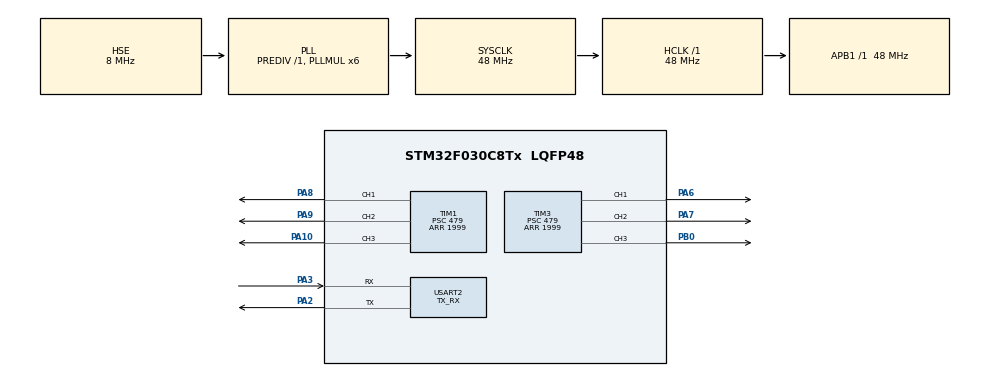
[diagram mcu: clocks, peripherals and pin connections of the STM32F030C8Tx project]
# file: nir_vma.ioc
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Mcu.Family=STM32F0
Mcu.Name=STM32F030C8Tx
Mcu.Package=LQFP48
NVIC.USART2_IRQn=true\:0\:0\:false\:false\:true\:true\:true\:true
PA10.Signal=S_TIM1_CH3
PA2.Mode=Asynchronous
PA2.Signal=USART2_TX
PA3.Mode=Asynchronous
PA3.Signal=USART2_RX
PA6.Signal=S_TIM3_CH1
PA7.Signal=S_TIM3_CH2
PA8.Signal=S_TIM1_CH1
PA9.Signal=S_TIM1_CH2
PB0.Signal=S_TIM3_CH3
PF0-OSC_IN.Mode=HSE-External-Oscillator
PF0-OSC_IN.Signal=RCC_OSC_IN
PF1-OSC_OUT.Mode=HSE-External-Oscillator
PF1-OSC_OUT.Signal=RCC_OSC_OUT
ProjectManager.HeapSize=0x200
ProjectManager.StackSize=0x400
ProjectManager.TargetToolchain=STM32CubeIDE
RCC.AHBFreq_Value=48000000
RCC.APB1Freq_Value=48000000
RCC.APB1TimFreq_Value=48000000
RCC.HCLKFreq_Value=48000000
RCC.PLLMUL=RCC_PLL_MUL6
RCC.PLLSourceVirtual=RCC_PLLSOURCE_HSE
RCC.SYSCLKFreq_VALUE=48000000
RCC.SYSCLKSource=RCC_SYSCLKSOURCE_PLLCLK
SH.S_TIM1_CH1.0=TIM1_CH1,PWM Generation1 CH1
SH.S_TIM1_CH2.0=TIM1_CH2,PWM Generation2 CH2
SH.S_TIM1_CH3.0=TIM1_CH3,PWM Generation3 CH3
SH.S_TIM3_CH1.0=TIM3_CH1,PWM Generation1 CH1
SH.S_TIM3_CH2.0=TIM3_CH2,PWM Generation2 CH2
SH.S_TIM3_CH3.0=TIM3_CH3,PWM Generation3 CH3
TIM1.Channel-PWM\ Generation1\ CH1=TIM_CHANNEL_1
TIM1.Channel-PWM\ Generation2\ CH2=TIM_CHANNEL_2
TIM1.Channel-PWM\ Generation3\ CH3=TIM_CHANNEL_3
TIM1.Period=1999
TIM1.Prescaler=479
TIM1.Pulse-PWM\ Generation1\ CH1=150
TIM1.Pulse-PWM\ Generation2\ CH2=150
TIM3.Channel-PWM\ Generation1\ CH1=TIM_CHANNEL_1
TIM3.Channel-PWM\ Generation2\ CH2=TIM_CHANNEL_2
TIM3.Channel-PWM\ Generation3\ CH3=TIM_CHANNEL_3
TIM3.Period=1999
TIM3.Prescaler=479
TIM3.Pulse-PWM\ Generation2\ CH2=150
TIM3.Pulse-PWM\ Generation3\ CH3=150
USART2.Mode=MODE_TX_RX
USART2.Parity=PARITY_NONE
USART2.VirtualMode-Asynchronous=VM_ASYNC
board=custom

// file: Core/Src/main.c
/* USER CODE BEGIN Header */
/**
  ******************************************************************************
  * @file           : main.c
  * @brief          : Main program body
  ******************************************************************************
  * @attention
  *
  * Copyright (c) 2023 STMicroelectronics.
  * All rights reserved.
  *
  * This software is licensed under terms that can be found in the LICENSE file
  * in the root directory of this software component.
  * If no LICENSE file comes with this software, it is provided AS-IS.
  *
  ******************************************************************************
  */
/* USER CODE END Header */
#include "main.h"

TIM_HandleTypeDef htim1;
TIM_HandleTypeDef htim3;

UART_HandleTypeDef huart2;

/* USER CODE BEGIN PV */
uint8_t bufferRx[18];
uint8_t rxFlag=0;  //флаг о приеме данных
uint16_t data[6] = {0,0,0,0,0,0}; //ВМА
uint16_t flags;
uint8_t MAX_SIZE = 18;

/* USER CODE END PV */

void SystemClock_Config(void);
static void MX_GPIO_Init(void);
static void MX_TIM1_Init(void);
static void MX_TIM3_Init(void);
static void MX_USART2_UART_Init(void);

/* USER CODE BEGIN 0 */
/* UART2 Interrupt Service Routine */

/* USER CODE END 0 */

int main(void)
{

  /* MCU Configuration--------------------------------------------------------*/

  /* Reset of all peripherals, Initializes the Flash interface and the Systick. */
  HAL_Init();

  /* Configure the system clock */
  SystemClock_Config();

  /* Initialize all configured peripherals */
  MX_GPIO_Init();
  MX_TIM1_Init();
  MX_TIM3_Init();
  MX_USART2_UART_Init();
  /* USER CODE BEGIN 2 */
  Thruster_Init();
//  HAL_UART_Receive_IT(&huart2, &bufferRx,18);
//  HAL_UART_Receive_IT (&huart2, bufferRx, 18);

  /* USER CODE END 2 */

  /* Infinite loop */
  while (1)
  {

    /* USER CODE BEGIN 3 */
	  HAL_UART_Receive(&huart2, (uint8_t*)bufferRx, 18, 10); //принимаем сообщение
      if((bufferRx[0] == 0xff) && (bufferRx[1] == 0xfD))
     	  rxFlag = 1;
      while(bufferRx[0]!= 0xff || bufferRx[1]!= 0xfD){ //проверяем соответсвует ли посылка
      			HAL_UART_Receive(&huart2, (uint8_t*)bufferRx, 18, 10);//принимаем сообщение еще раз
      		}

	//  if (huart2.RxXferCount == 0){
	  if(rxFlag){

		  rxFlag = 0;
		  if(check_crc(bufferRx, MAX_SIZE)){ //если crc совпало

			  data[0] =  (bufferRx[3] << 8) | (bufferRx[2] & 0xff);
			  data[1] =  (bufferRx[5] << 8) | (bufferRx[4] & 0xff);
			  data[2] =  (bufferRx[7] << 8) | (bufferRx[6] & 0xff);
			  data[3] =  (bufferRx[9] << 8) | (bufferRx[8] & 0xff);
			  data[4] =  (bufferRx[11] << 8) | (bufferRx[10] & 0xff);
			  data[5] =  (bufferRx[13] << 8) | (bufferRx[12] & 0xff);
			  flags = (bufferRx[15] << 8) | (bufferRx[14] & 0xff);

			  Thruster_Set_Speed(data); //записываем ширину импульса Ш�?Ма

			  if(flags & (1 << 7)){  //если 7 бит выставлен
				HAL_Delay(500);
				//	HAL_GPIO_WritePin(POWER_ON_GPIO_Port, POWER_ON_Pin, GPIO_PIN_RESET);//выключаем силовое питание
				}
			  else{
				//  HAL_GPIO_WritePin(POWER_ON_GPIO_Port, POWER_ON_Pin, GPIO_PIN_SET);//включаем силовое питание
			  }
		  }
		  else{
			//  HAL_GPIO_WritePin(LD8_GPIO_Port, LD8_Pin, GPIO_PIN_RESET); //индикация о ошибке приема
		  }

	  }

  }
  /* USER CODE END 3 */
}

void SystemClock_Config(void)
{
  RCC_OscInitTypeDef RCC_OscInitStruct = {0};
  RCC_ClkInitTypeDef RCC_ClkInitStruct = {0};

  /** Initializes the RCC Oscillators according to the specified parameters
  * in the RCC_OscInitTypeDef structure.
  */
  RCC_OscInitStruct.OscillatorType = RCC_OSCILLATORTYPE_HSE;
  RCC_OscInitStruct.HSEState = RCC_HSE_ON;
  RCC_OscInitStruct.PLL.PLLState = RCC_PLL_ON;
  RCC_OscInitStruct.PLL.PLLSource = RCC_PLLSOURCE_HSE;
  RCC_OscInitStruct.PLL.PLLMUL = RCC_PLL_MUL6;
  RCC_OscInitStruct.PLL.PREDIV = RCC_PREDIV_DIV1;
  if (HAL_RCC_OscConfig(&RCC_OscInitStruct) != HAL_OK)
  {
    Error_Handler();
  }

  /** Initializes the CPU, AHB and APB buses clocks
  */
  RCC_ClkInitStruct.ClockType = RCC_CLOCKTYPE_HCLK|RCC_CLOCKTYPE_SYSCLK
                              |RCC_CLOCKTYPE_PCLK1;
  RCC_ClkInitStruct.SYSCLKSource = RCC_SYSCLKSOURCE_PLLCLK;
  RCC_ClkInitStruct.AHBCLKDivider = RCC_SYSCLK_DIV1;
  RCC_ClkInitStruct.APB1CLKDivider = RCC_HCLK_DIV1;

  if (HAL_RCC_ClockConfig(&RCC_ClkInitStruct, FLASH_LATENCY_1) != HAL_OK)
  {
    Error_Handler();
  }
}

static void MX_TIM1_Init(void)
{

  TIM_MasterConfigTypeDef sMasterConfig = {0};
  TIM_OC_InitTypeDef sConfigOC = {0};
  TIM_BreakDeadTimeConfigTypeDef sBreakDeadTimeConfig = {0};

  htim1.Instance = TIM1;
  htim1.Init.Prescaler = 479;
  htim1.Init.CounterMode = TIM_COUNTERMODE_UP;
  htim1.Init.Period = 1999;
  htim1.Init.ClockDivision = TIM_CLOCKDIVISION_DIV1;
  htim1.Init.RepetitionCounter = 0;
  htim1.Init.AutoReloadPreload = TIM_AUTORELOAD_PRELOAD_DISABLE;
  if (HAL_TIM_PWM_Init(&htim1) != HAL_OK)
  {
    Error_Handler();
  }
  sMasterConfig.MasterOutputTrigger = TIM_TRGO_RESET;
  sMasterConfig.MasterSlaveMode = TIM_MASTERSLAVEMODE_DISABLE;
  if (HAL_TIMEx_MasterConfigSynchronization(&htim1, &sMasterConfig) != HAL_OK)
  {
    Error_Handler();
  }
  sConfigOC.OCMode = TIM_OCMODE_PWM1;
  sConfigOC.Pulse = 150;
  sConfigOC.OCPolarity = TIM_OCPOLARITY_HIGH;
  sConfigOC.OCNPolarity = TIM_OCNPOLARITY_HIGH;
  sConfigOC.OCFastMode = TIM_OCFAST_DISABLE;
  sConfigOC.OCIdleState = TIM_OCIDLESTATE_RESET;
  sConfigOC.OCNIdleState = TIM_OCNIDLESTATE_RESET;
  if (HAL_TIM_PWM_ConfigChannel(&htim1, &sConfigOC, TIM_CHANNEL_1) != HAL_OK)
  {
    Error_Handler();
  }
  if (HAL_TIM_PWM_ConfigChannel(&htim1, &sConfigOC, TIM_CHANNEL_2) != HAL_OK)
  {
    Error_Handler();
  }
  sConfigOC.Pulse = 0;
  if (HAL_TIM_PWM_ConfigChannel(&htim1, &sConfigOC, TIM_CHANNEL_3) != HAL_OK)
  {
    Error_Handler();
  }
  sBreakDeadTimeConfig.OffStateRunMode = TIM_OSSR_DISABLE;
  sBreakDeadTimeConfig.OffStateIDLEMode = TIM_OSSI_DISABLE;
  sBreakDeadTimeConfig.LockLevel = TIM_LOCKLEVEL_OFF;
  sBreakDeadTimeConfig.DeadTime = 0;
  sBreakDeadTimeConfig.BreakState = TIM_BREAK_DISABLE;
  sBreakDeadTimeConfig.BreakPolarity = TIM_BREAKPOLARITY_HIGH;
  sBreakDeadTimeConfig.AutomaticOutput = TIM_AUTOMATICOUTPUT_DISABLE;
  if (HAL_TIMEx_ConfigBreakDeadTime(&htim1, &sBreakDeadTimeConfig) != HAL_OK)
  {
    Error_Handler();
  }
  HAL_TIM_MspPostInit(&htim1);

}

static void MX_TIM3_Init(void)
{

  TIM_MasterConfigTypeDef sMasterConfig = {0};
  TIM_OC_InitTypeDef sConfigOC = {0};

  htim3.Instance = TIM3;
  htim3.Init.Prescaler = 479;
  htim3.Init.CounterMode = TIM_COUNTERMODE_UP;
  htim3.Init.Period = 1999;
  htim3.Init.ClockDivision = TIM_CLOCKDIVISION_DIV1;
  htim3.Init.AutoReloadPreload = TIM_AUTORELOAD_PRELOAD_DISABLE;
  if (HAL_TIM_PWM_Init(&htim3) != HAL_OK)
  {
    Error_Handler();
  }
  sMasterConfig.MasterOutputTrigger = TIM_TRGO_RESET;
  sMasterConfig.MasterSlaveMode = TIM_MASTERSLAVEMODE_DISABLE;
  if (HAL_TIMEx_MasterConfigSynchronization(&htim3, &sMasterConfig) != HAL_OK)
  {
    Error_Handler();
  }
  sConfigOC.OCMode = TIM_OCMODE_PWM1;
  sConfigOC.Pulse = 0;
  sConfigOC.OCPolarity = TIM_OCPOLARITY_HIGH;
  sConfigOC.OCFastMode = TIM_OCFAST_DISABLE;
  if (HAL_TIM_PWM_ConfigChannel(&htim3, &sConfigOC, TIM_CHANNEL_1) != HAL_OK)
  {
    Error_Handler();
  }
  sConfigOC.Pulse = 150;
  if (HAL_TIM_PWM_ConfigChannel(&htim3, &sConfigOC, TIM_CHANNEL_2) != HAL_OK)
  {
    Error_Handler();
  }
  if (HAL_TIM_PWM_ConfigChannel(&htim3, &sConfigOC, TIM_CHANNEL_3) != HAL_OK)
  {
    Error_Handler();
  }
  HAL_TIM_MspPostInit(&htim3);

}

static void MX_USART2_UART_Init(void)
{

  huart2.Instance = USART2;
  huart2.Init.BaudRate = 38400;
  huart2.Init.WordLength = UART_WORDLENGTH_8B;
  huart2.Init.StopBits = UART_STOPBITS_1;
  huart2.Init.Parity = UART_PARITY_NONE;
  huart2.Init.Mode = UART_MODE_TX_RX;
  huart2.Init.HwFlowCtl = UART_HWCONTROL_NONE;
  huart2.Init.OverSampling = UART_OVERSAMPLING_16;
  huart2.Init.OneBitSampling = UART_ONE_BIT_SAMPLE_DISABLE;
  huart2.AdvancedInit.AdvFeatureInit = UART_ADVFEATURE_NO_INIT;
  if (HAL_UART_Init(&huart2) != HAL_OK)
  {
    Error_Handler();
  }

}

static void MX_GPIO_Init(void)
{

  /* GPIO Ports Clock Enable */
  __HAL_RCC_GPIOF_CLK_ENABLE();
  __HAL_RCC_GPIOA_CLK_ENABLE();
  __HAL_RCC_GPIOB_CLK_ENABLE();

}

void Error_Handler(void)
{
  __disable_irq();
  while (1)
  {
  }
}
